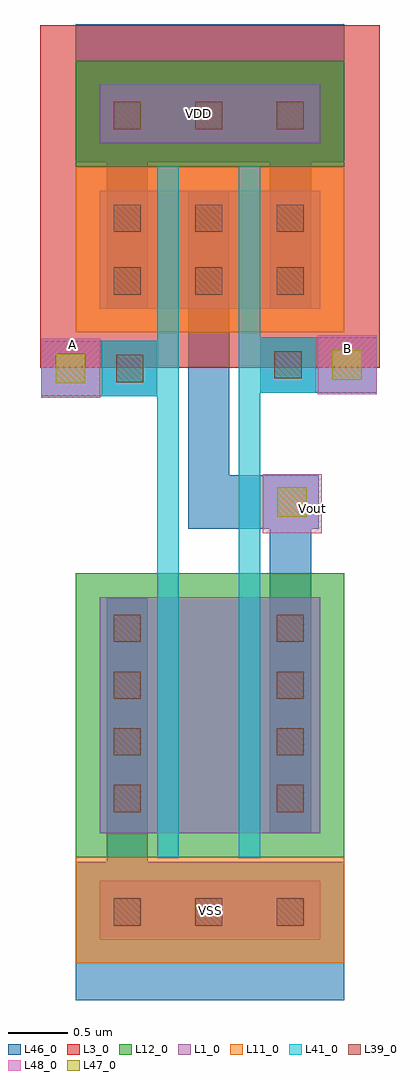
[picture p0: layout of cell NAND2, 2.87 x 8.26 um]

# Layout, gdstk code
import gdstk
lib = gdstk.Library(unit=1e-6, precision=1e-09)
def R(c, l, rs):  # rectangles x0, y0, x1, y1
    for r in rs: c.add(gdstk.rectangle(r[:2], r[2:], *l))
def A(c, l, x, y, w, h, nx, ny, dx, dy):  # array of equal rectangles
    R(c, l, [(x+i*dx, y+j*dy, x+i*dx+w, y+j*dy+h) for i in range(nx) for j in range(ny)])
L1_0 = (1, 0)
L3_0 = (3, 0)
L11_0 = (11, 0)
L12_0 = (12, 0)
L39_0 = (39, 0)
L41_0 = (41, 0)
L46_0 = (46, 0)
L47_0 = (47, 0)
L48_0 = (48, 0)

nand2 = lib.new_cell('NAND2')
R(nand2, L1_0, [(12.26,-24.095,14.13,-23.595), (12.26,-23.195,14.13,-21.195), (12.26,-18.755,14.13,-17.755), (12.26,-17.355,14.13,-16.855)])
R(nand2, L3_0, [(11.76,-19.255,14.63,-16.355)])
R(nand2, L11_0, [(12.06,-24.295,14.33,-23.395), (12.06,-18.955,14.33,-17.555)])
R(nand2, L12_0, [(12.06,-23.395,14.33,-20.995), (12.06,-17.555,14.33,-16.655)])
A(nand2, L39_0, 12.38, -23.975, 0.23, 0.23, 3, 2, 0.69, 5.34)
A(nand2, L39_0, 12.38, -23.015, 0.23, 0.23, 1, 4, 0, 0.48)
A(nand2, L39_0, 13.76, -23.015, 0.23, 0.23, 1, 4, 0, 0.48)
A(nand2, L39_0, 12.38, -18.105, 0.23, 0.23, 3, 2, 0.69, 0.87)
R(nand2, L39_0, [(12.4,-19.375,12.63,-19.145), (13.74,-19.345,13.97,-19.115)])
R(nand2, L41_0, [(12.75,-23.395,12.93,-17.555), (13.44,-23.395,13.62,-17.555), (12.28,-19.495,12.75,-19.025), (13.62,-19.465,14.09,-18.995)])
R(nand2, L46_0, [(12.06,-24.605,14.33,-23.435), (12.32,-23.435,12.67,-21.195), (13.7,-23.195,14.05,-20.615), (13.01,-20.615,14.115,-20.165), (13.01,-20.165,13.36,-17.755), (11.765,-19.495,12.75,-19.025), (13.62,-19.465,14.605,-18.995), (12.32,-18.755,12.67,-17.515), (13.7,-18.755,14.05,-17.515), (12.06,-17.515,14.33,-16.345)])
R(nand2, L47_0, [(13.765,-20.515,14.015,-20.265), (11.89,-19.385,12.14,-19.135), (14.23,-19.355,14.48,-19.105)])
R(nand2, L48_0, [(13.64,-20.655,14.14,-20.155), (11.765,-19.51,12.265,-19.01), (14.105,-19.48,14.605,-18.98)])
nand2.add(gdstk.Label('VDD', (13.1,-17.1), layer=101, texttype=0))
nand2.add(gdstk.Label('VSS', (13.195,-23.845), layer=101, texttype=0))
nand2.add(gdstk.Label('A', (12.035,-19.055), layer=102, texttype=0))
nand2.add(gdstk.Label('B', (14.355,-19.09), layer=102, texttype=0))
nand2.add(gdstk.Label('Vout', (14.06,-20.445), layer=102, texttype=0))

lib.write_gds('NAND2.gds')
